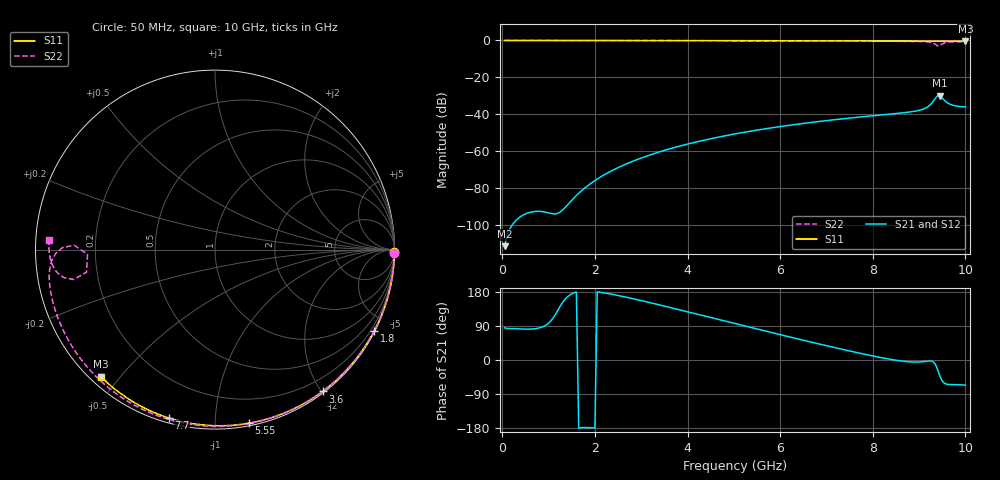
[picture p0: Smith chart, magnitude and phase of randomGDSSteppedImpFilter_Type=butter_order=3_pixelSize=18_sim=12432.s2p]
! freq	dB(S11)	phase(S11)	dB(S12)	phase(S12)
!  dB(S21)	phase(S21)	dB(S22)	phase(S22)
!S-par simulation data
#  GHz  S  DB  R 50
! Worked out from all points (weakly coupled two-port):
!   200 points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, 50 MHz to 10 GHz, reference 50 ohm
!   highest |S21| = -29.91 dB at 9.45 GHz (marker M1); lowest = -111.2 dB at 50 MHz (marker M2)
!   lowest |S11| = -0.4 dB at 10 GHz (marker M3), VSWR 39.35, Z = 1.52 - j22.3 ohm
!   |S11| at or under -10 dB: nowhere
!   |S22| runs from -3.0 to 0.0 dB; largest |S21 - S12| = 0
!   S11 on the Smith chart (normalised r, x): 50 MHz: open; 1.8 GHz: 0.04, -4.16; 3.6 GHz: 0.02, -2.01; 5.55 GHz: 0.02, -1.21; 7.7 GHz: 0.02, -0.76; 10 GHz: 0.03, -0.45
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0.05  -0.00 -0.8  -111.18 84.9  -111.18 84.9  -0.00 -1.1
0.85  -0.02 -12.9  -92.46 86.5  -92.46 86.5  -0.02 -17.9
1.75  -0.03 -26.3  -80.39 -178.3  -80.39 -178.3  -0.05 -36.5
1.8  -0.03 -27.0  -79.36 -178.1  -79.36 -178.1  -0.05 -37.5
2.1  -0.04 -31.4  -74.11 178.9  -74.11 178.9  -0.06 -43.6
2.45  -0.05 -36.5  -69.32 171.5  -69.32 171.5  -0.06 -50.6
3.4  -0.07 -50.0  -60.17 145.2  -60.17 145.2  -0.09 -69.0
3.6  -0.07 -52.8  -58.68 139.3  -58.68 139.3  -0.10 -72.8
4.3  -0.09 -62.4  -54.22 118.1  -54.22 118.1  -0.12 -85.8
5.05  -0.11 -72.4  -50.40 95.4  -50.40 95.4  -0.15 -99.3
5.55  -0.13 -78.9  -48.25 80.3  -48.25 80.3  -0.18 -108.1
6.7  -0.18 -93.3  -44.21 46.4  -44.21 46.4  -0.25 -128.0
7.7  -0.24 -105.4  -41.43 18.5  -41.43 18.5  -0.34 -145.4
8.35  -0.29 -113.0  -39.86 2.5  -39.86 2.5  -0.41 -157.1
9.1  -0.36 -121.6  -37.00 -4.3  -37.00 -4.3  -0.66 -173.4
9.25  -0.37 -123.3  -34.57 -2.5  -34.57 -2.5  -1.04 -178.7
9.35  -0.38 -124.4  -31.35 -10.8  -31.35 -10.8  -2.10 178.2
9.4  -0.38 -125.0  -29.91 -24.9  -29.91 -24.9  -2.96 -177.9
9.45  -0.38 -125.6  -29.91 -42.9  -29.91 -42.9  -2.78 -170.1
9.5  -0.38 -126.2  -31.11 -55.5  -31.11 -55.5  -1.90 -168.0
9.65  -0.40 -127.9  -34.28 -64.7  -34.28 -64.7  -0.87 -173.6
10  -0.44 -131.9  -35.87 -66.3  -35.87 -66.3  -0.65 176.6
